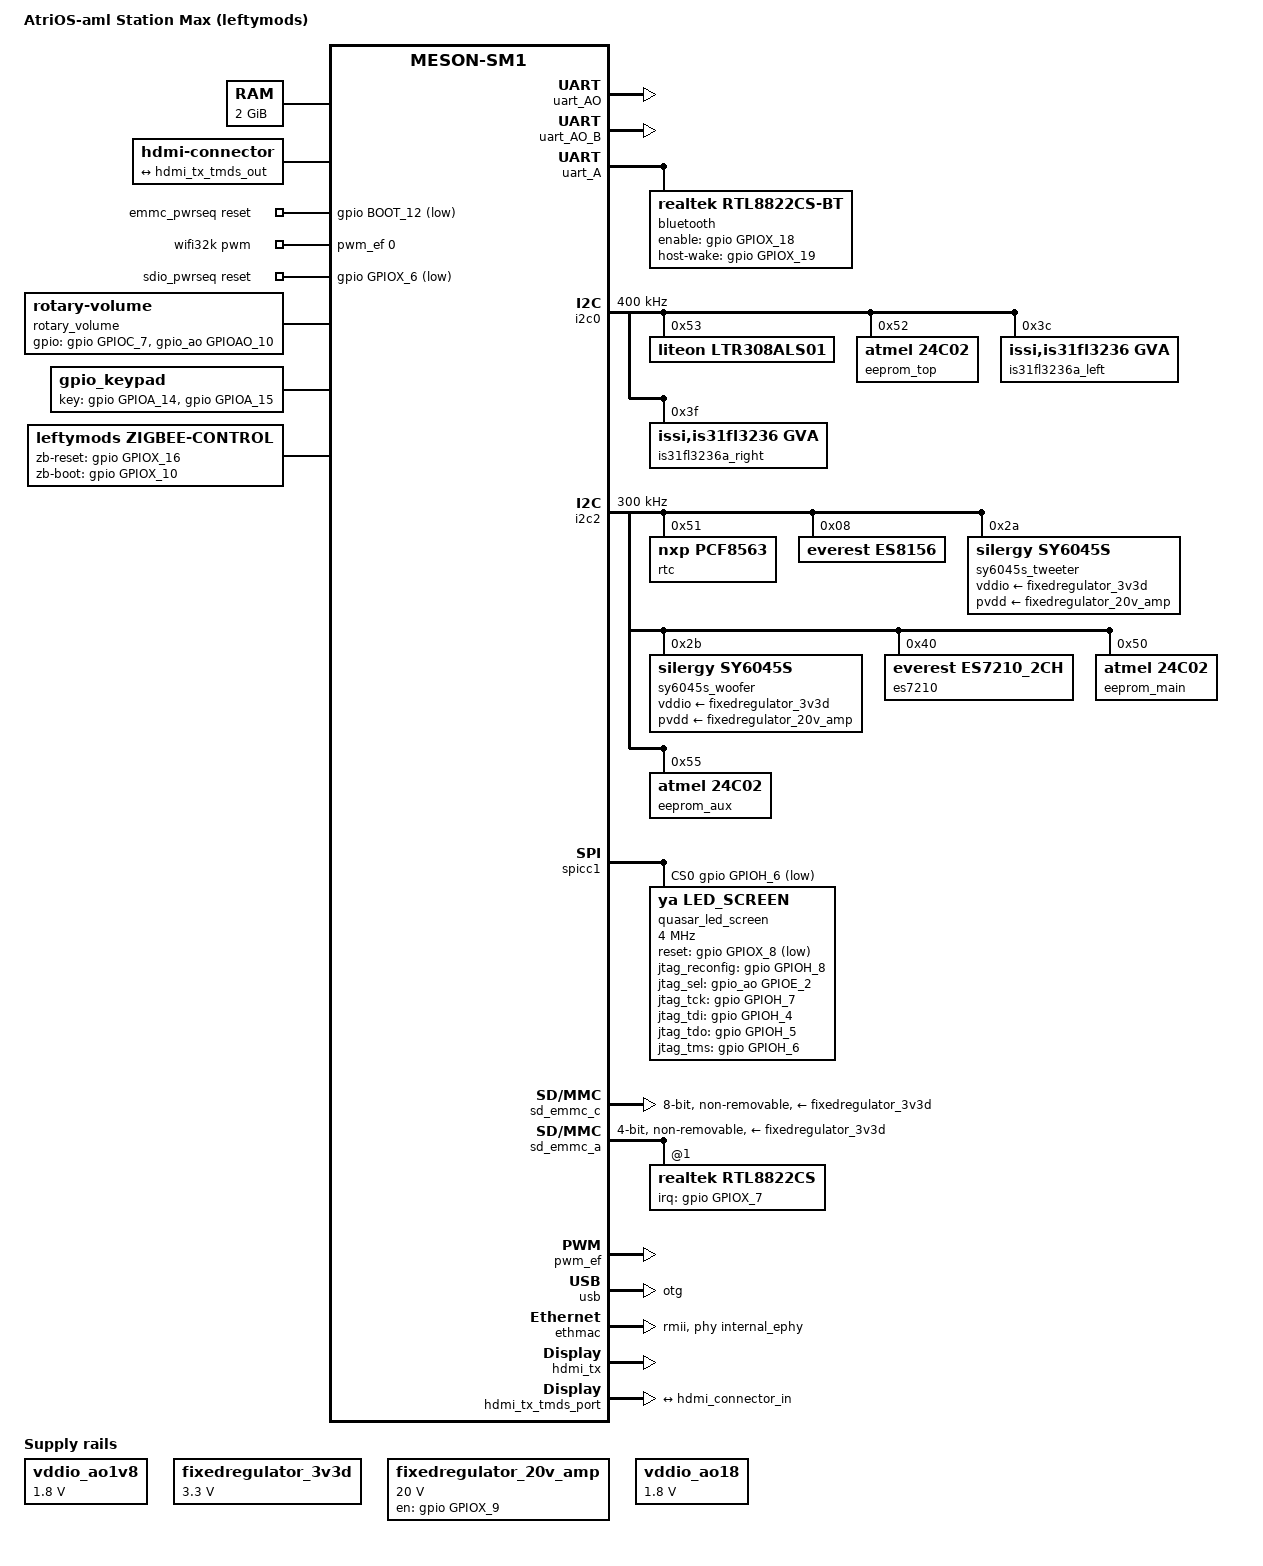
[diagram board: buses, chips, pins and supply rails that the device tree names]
// SPDX-License-Identifier: (GPL-2.0+ OR MIT)
/*
 * Device Tree Source for AtriOS-aml Station Max (leftymods) (Quasar 2 / Station 2)
 * Based on Amlogic Meson SM1 (S905X3) SoC
 * Compatible with Mainline Linux 6.x / 7.0+
 */

/dts-v1/;

#include "meson-sm1.dtsi"
#include <dt-bindings/gpio/gpio.h>
#include <dt-bindings/gpio/meson-g12a-gpio.h>
#include <dt-bindings/input/input.h>
#include <dt-bindings/sound/meson-g12a-tohdmitx.h>

/ {
	compatible = "leftymods,station-max", "amlogic,sm1";
	model = "AtriOS-aml Station Max (leftymods)";
	amlogic-dt-id = "yandex_station_2g";

	aliases {
		serial0 = &uart_AO;
		serial1 = &uart_AO_B;
		serial2 = &uart_A;
		ethernet0 = &ethmac;
		spi0 = &spicc1;
	};

	chosen {
		stdout-path = "serial0:115200n8";
	};

	memory@0 {
		device_type = "memory";
		reg = <0x0 0x0 0x0 0x80000000>; /* 2GB DDR4 */
	};

	hdmi-connector {
		compatible = "hdmi-connector";
		type = "a";

		port {
			hdmi_connector_in: endpoint {
				remote-endpoint = <&hdmi_tx_tmds_out>;
			};
		};
	};

	emmc_pwrseq: emmc-pwrseq {
		compatible = "mmc-pwrseq-emmc";
		reset-gpios = <&gpio BOOT_12 GPIO_ACTIVE_LOW>;
	};

	wifi32k: wifi32k {
		compatible = "pwm-clock";
		#clock-cells = <0>;
		clock-frequency = <32768>;
		pwms = <&pwm_ef 0 30518 0>; /* PWM_E at 32.768KHz */
	};

	sdio_pwrseq: sdio-pwrseq {
		compatible = "mmc-pwrseq-simple";
		reset-gpios = <&gpio GPIOX_6 GPIO_ACTIVE_LOW>;
		clocks = <&wifi32k>;
		clock-names = "ext_clock";
	};

	/* Fixed voltage regulators */
	vddio_ao1v8: fixedregulator_1v8d: regulator-1v8d {
		compatible = "regulator-fixed";
		regulator-name = "1V8_D";
		regulator-min-microvolt = <1800000>;
		regulator-max-microvolt = <1800000>;
		regulator-always-on;
	};

	fixedregulator_3v3d: regulator-3v3d {
		compatible = "regulator-fixed";
		regulator-name = "3V3_D";
		regulator-min-microvolt = <3300000>;
		regulator-max-microvolt = <3300000>;
		regulator-always-on;
	};

	fixedregulator_20v_amp: regulator-20v-amp {
		compatible = "regulator-fixed";
		regulator-name = "20V_AMPL";
		regulator-min-microvolt = <20000000>;
		regulator-max-microvolt = <20000000>;
		gpio = <&gpio GPIOX_9 GPIO_ACTIVE_HIGH>;
		enable-active-high;
		regulator-boot-on;
		regulator-always-on;
	};

	vddio_ao18: regulator-vddio_ao18 {
		compatible = "regulator-fixed";
		regulator-name = "VDDIO_AO18";
		regulator-min-microvolt = <1800000>;
		regulator-max-microvolt = <1800000>;
		regulator-always-on;
	};

	/* Rotary Volume Encoder (GPIOC_7 / GPIOAO_10) */
	rotary_volume: rotary-volume {
		compatible = "rotary-volume";
		status = "okay";
		gpios = <&gpio GPIOC_7 GPIO_ACTIVE_HIGH>,
			<&gpio_ao GPIOAO_10 GPIO_ACTIVE_HIGH>;
		key-codes = <KEY_VOLUMEUP KEY_VOLUMEDOWN>; /* 115, 114 */
	};

	/* Top Buttons (Action KEY_VOICECOMMAND 582, Mic Mute KEY_MICMUTE 248) */
	gpio_keypad: gpio-keypad {
		compatible = "gpio_keypad";
		status = "okay";
		scan_period = <20>;
		key_num = <2>;
		key_name = "micmute", "function";
		key_code = <KEY_MICMUTE KEY_VOICECOMMAND>;
		key-gpios = <&gpio GPIOA_14 GPIO_ACTIVE_HIGH>,
			    <&gpio GPIOA_15 GPIO_ACTIVE_HIGH>;
	};

	/* Zigbee Coordinator GPIO Control (zb-reset, zb-boot) */
	zigbee: zigbee-control {
		compatible = "leftymods,zigbee-control";
		status = "okay";
		zb-reset-gpios = <&gpio GPIOX_16 GPIO_ACTIVE_HIGH>;
		zb-boot-gpios = <&gpio GPIOX_10 GPIO_ACTIVE_HIGH>;
	};

	/* PCBA IDs Reader */
	pcba_ids: pcba-ids {
		compatible = "pcba-ids";
		status = "okay";
		i2c-bus = <0>;
		top-eeprom-addr = <0x52>;
		main-eeprom-addr = <0x50>;
		led-eeprom-addr = <0x55>;
	};

	/* Mainline ASoC Sound Card */
	sound {
		compatible = "amlogic,axg-sound-card";
		model = "ATRIOS-AML-SOUND";
		audio-widgets =
			"Headphone", "Headphone Jack",
			"Speaker", "Woofer Speaker",
			"Speaker", "Tweeter Left",
			"Speaker", "Tweeter Right",
			"Microphone", "Mic Array";
		audio-routing =
			"Headphone Jack", "Headphone LOUT",
			"Headphone Jack", "Headphone ROUT",
			"Woofer Speaker", "Woofer OUTP",
			"Woofer Speaker", "Woofer OUTN",
			"Tweeter Left", "Tweeter OUT1",
			"Tweeter Right", "Tweeter OUT2";

		dai-link-0 {
			sound-dai = <&tdmif_b>;
			dai-format = "i2s";
			dai-tdm-slot-tx-mask-0 = <1 1>;
			mclk-fs = <256>;

			codec-0 {
				sound-dai = <&sy6045s_woofer>;
			};

			codec-1 {
				sound-dai = <&sy6045s_tweeter>;
			};

			codec-2 {
				sound-dai = <&es8156>;
			};

			codec-3 {
				sound-dai = <&es7210>;
			};
		};

		dai-link-1 {
			sound-dai = <&tdmif_c>;
			dai-format = "i2s";
			dai-tdm-slot-tx-mask-0 = <1 1>;
			mclk-fs = <256>;

			codec {
				sound-dai = <&tohdmitx TOHDMITX_I2S_IN_C>;
			};
		};

		dai-link-2 {
			sound-dai = <&tohdmitx TOHDMITX_I2S_OUT>;

			codec {
				sound-dai = <&hdmi_tx>;
			};
		};
	};
};

/* UART_AO: Debug Console */
&uart_AO {
	status = "okay";
	pinctrl-0 = <&uart_ao_a_pins>;
	pinctrl-names = "default";
};

/* UART_AO_B: Auxiliary / Zigbee / MCU */
&uart_AO_B {
	status = "okay";
	pinctrl-0 = <&uart_ao_b_8_9_pins>;
	pinctrl-names = "default";
};

/* UART_A: Realtek RTL8822CS Bluetooth HCI */
&uart_A {
	status = "okay";
	pinctrl-0 = <&uart_a_pins>, <&uart_a_cts_rts_pins>;
	pinctrl-names = "default";
	uart-has-rtscts;

	bluetooth {
		compatible = "realtek,rtl8822cs-bt";
		enable-gpios = <&gpio GPIOX_18 GPIO_ACTIVE_HIGH>;
		host-wake-gpios = <&gpio GPIOX_19 GPIO_ACTIVE_HIGH>;
	};
};

/* I2C0: LED Ring Controllers, ALS, EEPROM */
&i2c0 {
	status = "okay";
	pinctrl-0 = <&i2c0_sda_z0_pins>, <&i2c0_sck_z1_pins>;
	pinctrl-names = "default";
	clock-frequency = <400000>;

	/* Lite-On LTR-308ALS-01 Ambient Light Sensor */
	ltr308als01: light-sensor@53 {
		compatible = "liteon,ltr308als01", "liteon,ltr308";
		reg = <0x53>;
		status = "okay";
	};

	/* Top Board EEPROM */
	eeprom_top: eeprom@52 {
		compatible = "atmel,24c02";
		reg = <0x52>;
		pagesize = <16>;
	};

	/* ISSI IS31FL3236A Left LED Driver (Ring LEDs 1..12) */
	is31fl3236a_left: led-controller@3c {
		compatible = "issi,is31fl3236,gva", "issi,is31fl3236";
		reg = <0x3c>;
		#address-cells = <1>;
		#size-cells = <0>;
		max-brightness-scale = <200>;
		status = "okay";

		/* 12 RGB LEDs = 36 channels */
		led@1 { reg = <1>; label = "station2:red:ring1"; linux,default-trigger = "led_ring_fb"; };
		led@2 { reg = <2>; label = "station2:green:ring1"; linux,default-trigger = "led_ring_fb"; };
		led@3 { reg = <3>; label = "station2:blue:ring1"; linux,default-trigger = "led_ring_fb"; };
		led@4 { reg = <4>; label = "station2:red:ring2"; linux,default-trigger = "led_ring_fb"; };
		led@5 { reg = <5>; label = "station2:green:ring2"; linux,default-trigger = "led_ring_fb"; };
		led@6 { reg = <6>; label = "station2:blue:ring2"; linux,default-trigger = "led_ring_fb"; };
		led@7 { reg = <7>; label = "station2:red:ring3"; linux,default-trigger = "led_ring_fb"; };
		led@8 { reg = <8>; label = "station2:green:ring3"; linux,default-trigger = "led_ring_fb"; };
		led@9 { reg = <9>; label = "station2:blue:ring3"; linux,default-trigger = "led_ring_fb"; };
		led@10 { reg = <10>; label = "station2:red:ring4"; linux,default-trigger = "led_ring_fb"; };
		led@11 { reg = <11>; label = "station2:green:ring4"; linux,default-trigger = "led_ring_fb"; };
		led@12 { reg = <12>; label = "station2:blue:ring4"; linux,default-trigger = "led_ring_fb"; };
		led@13 { reg = <13>; label = "station2:red:ring5"; linux,default-trigger = "led_ring_fb"; };
		led@14 { reg = <14>; label = "station2:green:ring5"; linux,default-trigger = "led_ring_fb"; };
		led@15 { reg = <15>; label = "station2:blue:ring5"; linux,default-trigger = "led_ring_fb"; };
		led@16 { reg = <16>; label = "station2:red:ring6"; linux,default-trigger = "led_ring_fb"; };
		led@17 { reg = <17>; label = "station2:green:ring6"; linux,default-trigger = "led_ring_fb"; };
		led@18 { reg = <18>; label = "station2:blue:ring6"; linux,default-trigger = "led_ring_fb"; };
		led@19 { reg = <19>; label = "station2:red:ring7"; linux,default-trigger = "led_ring_fb"; };
		led@20 { reg = <20>; label = "station2:green:ring7"; linux,default-trigger = "led_ring_fb"; };
		led@21 { reg = <21>; label = "station2:blue:ring7"; linux,default-trigger = "led_ring_fb"; };
		led@22 { reg = <22>; label = "station2:red:ring8"; linux,default-trigger = "led_ring_fb"; };
		led@23 { reg = <23>; label = "station2:green:ring8"; linux,default-trigger = "led_ring_fb"; };
		led@24 { reg = <24>; label = "station2:blue:ring8"; linux,default-trigger = "led_ring_fb"; };
		led@25 { reg = <25>; label = "station2:red:ring9"; linux,default-trigger = "led_ring_fb"; };
		led@26 { reg = <26>; label = "station2:green:ring9"; linux,default-trigger = "led_ring_fb"; };
		led@27 { reg = <27>; label = "station2:blue:ring9"; linux,default-trigger = "led_ring_fb"; };
		led@28 { reg = <28>; label = "station2:red:ring10"; linux,default-trigger = "led_ring_fb"; };
		led@29 { reg = <29>; label = "station2:green:ring10"; linux,default-trigger = "led_ring_fb"; };
		led@30 { reg = <30>; label = "station2:blue:ring10"; linux,default-trigger = "led_ring_fb"; };
		led@31 { reg = <31>; label = "station2:red:ring11"; linux,default-trigger = "led_ring_fb"; };
		led@32 { reg = <32>; label = "station2:green:ring11"; linux,default-trigger = "led_ring_fb"; };
		led@33 { reg = <33>; label = "station2:blue:ring11"; linux,default-trigger = "led_ring_fb"; };
		led@34 { reg = <34>; label = "station2:red:ring12"; linux,default-trigger = "led_ring_fb"; };
		led@35 { reg = <35>; label = "station2:green:ring12"; linux,default-trigger = "led_ring_fb"; };
		led@36 { reg = <36>; label = "station2:blue:ring12"; linux,default-trigger = "led_ring_fb"; };
	};

	/* ISSI IS31FL3236A Right LED Driver (Ring LEDs 13..24) */
	is31fl3236a_right: led-controller@3f {
		compatible = "issi,is31fl3236,gva", "issi,is31fl3236";
		reg = <0x3f>;
		#address-cells = <1>;
		#size-cells = <0>;
		max-brightness-scale = <200>;
		status = "okay";

		/* 12 RGB LEDs = 36 channels */
		led@1 { reg = <1>; label = "station2:red:ring13"; linux,default-trigger = "led_ring_fb"; };
		led@2 { reg = <2>; label = "station2:green:ring13"; linux,default-trigger = "led_ring_fb"; };
		led@3 { reg = <3>; label = "station2:blue:ring13"; linux,default-trigger = "led_ring_fb"; };
		led@4 { reg = <4>; label = "station2:red:ring14"; linux,default-trigger = "led_ring_fb"; };
		led@5 { reg = <5>; label = "station2:green:ring14"; linux,default-trigger = "led_ring_fb"; };
		led@6 { reg = <6>; label = "station2:blue:ring14"; linux,default-trigger = "led_ring_fb"; };
		led@7 { reg = <7>; label = "station2:red:ring15"; linux,default-trigger = "led_ring_fb"; };
		led@8 { reg = <8>; label = "station2:green:ring15"; linux,default-trigger = "led_ring_fb"; };
		led@9 { reg = <9>; label = "station2:blue:ring15"; linux,default-trigger = "led_ring_fb"; };
		led@10 { reg = <10>; label = "station2:red:ring16"; linux,default-trigger = "led_ring_fb"; };
		led@11 { reg = <11>; label = "station2:green:ring16"; linux,default-trigger = "led_ring_fb"; };
		led@12 { reg = <12>; label = "station2:blue:ring16"; linux,default-trigger = "led_ring_fb"; };
		led@13 { reg = <13>; label = "station2:red:ring17"; linux,default-trigger = "led_ring_fb"; };
		led@14 { reg = <14>; label = "station2:green:ring17"; linux,default-trigger = "led_ring_fb"; };
		led@15 { reg = <15>; label = "station2:blue:ring17"; linux,default-trigger = "led_ring_fb"; };
		led@16 { reg = <16>; label = "station2:red:ring18"; linux,default-trigger = "led_ring_fb"; };
		led@17 { reg = <17>; label = "station2:green:ring18"; linux,default-trigger = "led_ring_fb"; };
		led@18 { reg = <18>; label = "station2:blue:ring18"; linux,default-trigger = "led_ring_fb"; };
		led@19 { reg = <19>; label = "station2:red:ring19"; linux,default-trigger = "led_ring_fb"; };
		led@20 { reg = <20>; label = "station2:green:ring19"; linux,default-trigger = "led_ring_fb"; };
		led@21 { reg = <21>; label = "station2:blue:ring19"; linux,default-trigger = "led_ring_fb"; };
		led@22 { reg = <22>; label = "station2:red:ring20"; linux,default-trigger = "led_ring_fb"; };
		led@23 { reg = <23>; label = "station2:green:ring20"; linux,default-trigger = "led_ring_fb"; };
		led@24 { reg = <24>; label = "station2:blue:ring20"; linux,default-trigger = "led_ring_fb"; };
		led@25 { reg = <25>; label = "station2:red:ring21"; linux,default-trigger = "led_ring_fb"; };
		led@26 { reg = <26>; label = "station2:green:ring21"; linux,default-trigger = "led_ring_fb"; };
		led@27 { reg = <27>; label = "station2:blue:ring21"; linux,default-trigger = "led_ring_fb"; };
		led@28 { reg = <28>; label = "station2:red:ring22"; linux,default-trigger = "led_ring_fb"; };
		led@29 { reg = <29>; label = "station2:green:ring22"; linux,default-trigger = "led_ring_fb"; };
		led@30 { reg = <30>; label = "station2:blue:ring22"; linux,default-trigger = "led_ring_fb"; };
		led@31 { reg = <31>; label = "station2:red:ring23"; linux,default-trigger = "led_ring_fb"; };
		led@32 { reg = <32>; label = "station2:green:ring23"; linux,default-trigger = "led_ring_fb"; };
		led@33 { reg = <33>; label = "station2:blue:ring23"; linux,default-trigger = "led_ring_fb"; };
		led@34 { reg = <34>; label = "station2:red:ring24"; linux,default-trigger = "led_ring_fb"; };
		led@35 { reg = <35>; label = "station2:green:ring24"; linux,default-trigger = "led_ring_fb"; };
		led@36 { reg = <36>; label = "station2:blue:ring24"; linux,default-trigger = "led_ring_fb"; };
	};
};

/* I2C2: Codecs, Amplifiers, RTC, EEPROMs */
&i2c2 {
	status = "okay";
	pinctrl-0 = <&i2c2_sda_z_pins>, <&i2c2_sck_z_pins>;
	pinctrl-names = "default";
	clock-frequency = <300000>;

	/* NXP PCF8563 Real Time Clock */
	rtc@51 {
		compatible = "nxp,pcf8563";
		reg = <0x51>;
		status = "okay";
	};

	/* Everest ES8156 Headphone DAC */
	es8156: codec@8 {
		compatible = "everest,es8156";
		reg = <0x08>;
		#sound-dai-cells = <0>;
		status = "okay";
	};

	/* Silergy SY6045S Tweeters Amplifier (Stereo) */
	sy6045s_tweeter: amplifier@2a {
		compatible = "silergy,sy6045s";
		reg = <0x2a>;
		#sound-dai-cells = <0>;
		vddio-supply = <&fixedregulator_3v3d>;
		pvdd-supply = <&fixedregulator_20v_amp>;
		firmware = "sy6045s-tweeters-settings.txt";
		restore-regs = <0x07 0x01 0xff 0x06 0x01 0x08>;
		status = "okay";
	};

	/* Silergy SY6045S Woofer Amplifier (Mono PBTL) */
	sy6045s_woofer: amplifier@2b {
		compatible = "silergy,sy6045s";
		reg = <0x2b>;
		#sound-dai-cells = <0>;
		vddio-supply = <&fixedregulator_3v3d>;
		pvdd-supply = <&fixedregulator_20v_amp>;
		pbtl-mode;
		firmware = "sy6045s-woofer-settings.txt";
		restore-regs = <0x07 0x01 0xff 0x06 0x01 0x08>;
		status = "okay";
	};

	/* Everest ES7210 4-Channel Microphone ADC */
	es7210: codec@40 {
		compatible = "everest,es7210_2ch", "everest,es7210";
		reg = <0x40>;
		#sound-dai-cells = <0>;
		status = "okay";
	};

	/* Main Board EEPROM */
	eeprom_main: eeprom@50 {
		compatible = "atmel,24c02";
		reg = <0x50>;
		pagesize = <16>;
	};

	/* Secondary EEPROM */
	eeprom_aux: eeprom@55 {
		compatible = "atmel,24c02";
		reg = <0x55>;
		pagesize = <16>;
	};
};

/* SPICC1: Gowin FPGA LED Matrix Screen Controller */
&spicc1 {
	status = "okay";
	pinctrl-0 = <&spicc1_pins>;
	pinctrl-names = "default";
	cs-gpios = <&gpio GPIOH_6 GPIO_ACTIVE_LOW>;
	#address-cells = <1>;
	#size-cells = <0>;

	quasar_led_screen@0 {
		compatible = "ya,led_screen", "atri,led-panel";
		reg = <0>;
		spi-max-frequency = <4000000>;
		max-brightness = <200>;
		reset-gpios = <&gpio GPIOX_8 GPIO_ACTIVE_LOW>;
		jtag_reconfig-gpios = <&gpio GPIOH_8 GPIO_ACTIVE_HIGH>;
		jtag_sel-gpios = <&gpio_ao GPIOE_2 GPIO_ACTIVE_HIGH>;
		jtag_tck-gpios = <&gpio GPIOH_7 GPIO_ACTIVE_HIGH>;
		jtag_tdi-gpios = <&gpio GPIOH_4 GPIO_ACTIVE_HIGH>;
		jtag_tdo-gpios = <&gpio GPIOH_5 GPIO_ACTIVE_HIGH>;
		jtag_tms-gpios = <&gpio GPIOH_6 GPIO_ACTIVE_HIGH>;
		status = "okay";
	};
};

/* SD_EMMC_C: On-board eMMC 5.1 */
&sd_emmc_c {
	status = "okay";
	pinctrl-0 = <&emmc_ctrl_pins>, <&emmc_data_8b_pins>, <&emmc_ds_pins>;
	pinctrl-1 = <&emmc_clk_gate_pins>;
	pinctrl-names = "default";

	bus-width = <8>;
	cap-mmc-highspeed;
	mmc-ddr-1_8v;
	mmc-hs200-1_8v;
	max-frequency = <200000000>;
	non-removable;
	disable-wp;

	mmc-pwrseq = <&emmc_pwrseq>;
	vmmc-supply = <&fixedregulator_3v3d>;
	vqmmc-supply = <&vddio_ao18>;
};

/* SD_EMMC_A: SDIO Wi-Fi (Realtek RTL8822CS) */
&sd_emmc_a {
	status = "okay";
	pinctrl-0 = <&sdio_pins>;
	pinctrl-names = "default";

	#address-cells = <1>;
	#size-cells = <0>;

	bus-width = <4>;
	cap-sd-highspeed;
	sd-uhs-sdr50;
	max-frequency = <100000000>;
	non-removable;
	disable-wp;
	keep-power-in-suspend;

	mmc-pwrseq = <&sdio_pwrseq>;
	vmmc-supply = <&fixedregulator_3v3d>;
	vqmmc-supply = <&vddio_ao18>;

	rtl8822cs: wifi@1 {
		reg = <1>;
		compatible = "realtek,rtl8822cs";
		interrupt-parent = <&gpio>;
		interrupts = <GPIOX_7 IRQ_TYPE_LEVEL_HIGH>;
		interrupt-names = "host-wake";
	};
};

&pwm_ef {
	status = "okay";
	pinctrl-0 = <&pwm_e_pins>;
	pinctrl-names = "default";
	clocks = <&xtal>;
	clock-names = "clkin0";
};

/* USB 2.0 / 3.0 Controllers */
&usb {
	status = "okay";
	dr_mode = "otg";
};

/* Ethernet MAC */
&ethmac {
	status = "okay";
	phy-mode = "rmii";
	phy-handle = <&internal_ephy>;
};

/* HDMI Output */
&hdmi_tx {
	status = "okay";
	pinctrl-0 = <&hdmitx_hpd_pins>, <&hdmitx_ddc_pins>;
	pinctrl-names = "default";
	hdmi-supply = <&fixedregulator_3v3d>;
};

&hdmi_tx_tmds_port {
	hdmi_tx_tmds_out: endpoint {
		remote-endpoint = <&hdmi_connector_in>;
	};
};
